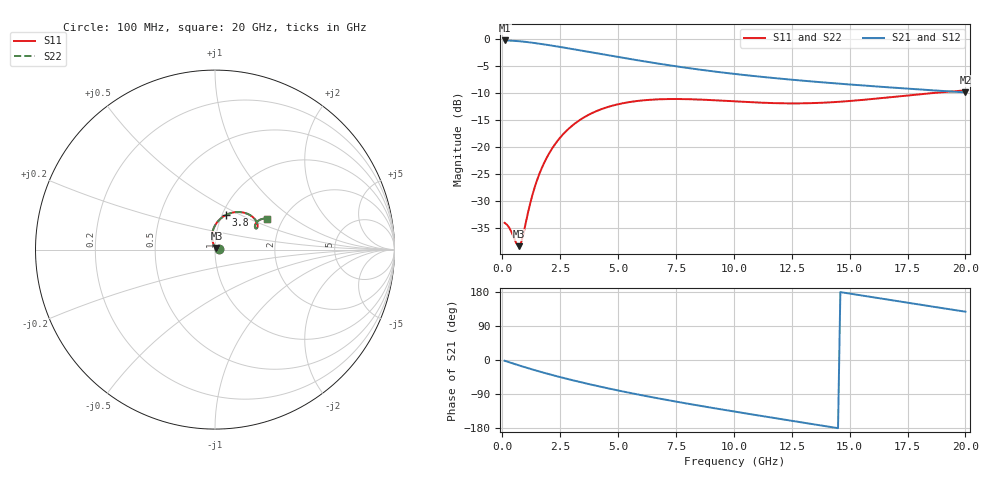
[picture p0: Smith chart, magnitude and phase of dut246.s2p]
! Created with skrf 1.9.0 (http://scikit-rf.org).
# GHz S RI R 50.0
!freq ReS11 ImS11 ReS21 ImS21 ReS12 ImS12 ReS22 ImS22
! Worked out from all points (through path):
!   200 points, 100 MHz to 20 GHz, reference 50 ohm
!   highest |S21| = -0.18 dB at 100 MHz (marker M1); lowest = -9.8 dB at 20 GHz (marker M2)
!   group delay of S21, straight-line fit = 30.4 ps
!   lowest |S11| = -38.4 dB at 700 MHz (marker M3), VSWR 1.02, Z = 50.8 + j0.88 ohm
!   |S11| at or under -10 dB: start of sweep to 18.49 GHz
!   |S22| runs from -38.4 to -9.5 dB; largest |S21 - S12| = 2.7e-15
!   S11 on the Smith chart (normalised r, x): 100 MHz: 1.04, +0.00; 3.8 GHz: 1.05, +0.42; 20 GHz: 1.66, +0.64
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0.1  0.0197 0.000591  0.9791 -0.0342  0.9791 -0.0342  0.0197 0.000591
0.3  0.0176 0.00197  0.9717 -0.1019  0.9717 -0.1019  0.0176 0.00197
0.6  0.0111 0.0063  0.9478 -0.1994  0.9478 -0.1994  0.0111 0.0063
0.7  0.00826 0.00865  0.9368 -0.2303  0.9368 -0.2303  0.00826 0.00865
0.8  0.00523 0.0115  0.9244 -0.2603  0.9244 -0.2603  0.00523 0.0115
0.9  0.0021 0.015  0.9108 -0.2893  0.9108 -0.2893  0.0021 0.015
1.2  -0.00694 0.0288  0.8635 -0.3698  0.8635 -0.3698  -0.00694 0.0288
1.4  -0.0118 0.0406  0.8278 -0.4178  0.8278 -0.4178  -0.0118 0.0406
1.6  -0.0152 0.054  0.7895 -0.4612  0.7895 -0.4612  -0.0152 0.054
1.9  -0.0168 0.0762  0.7287 -0.5181  0.7287 -0.5181  -0.0168 0.0762
2.2  -0.0137 0.0995  0.6655 -0.5654  0.6655 -0.5654  -0.0137 0.0995
2.6  -0.00262 0.1296  0.5796 -0.6152  0.5796 -0.6152  -0.00262 0.1296
3.5  0.0434 0.182  0.3898 -0.6793  0.3898 -0.6793  0.0434 0.182
3.8  0.0623 0.1933  0.3297 -0.6883  0.3297 -0.6883  0.0623 0.1933
5.1  0.1424 0.2087  0.0986 -0.6751  0.0986 -0.6751  0.1424 0.2087
6.8  0.2114 0.1805  -0.1233 -0.5808  -0.1233 -0.5808  0.2114 0.1805
8.4  0.2356 0.1456  -0.2596 -0.4609  -0.2596 -0.4609  0.2356 0.1456
10.1  0.2357 0.1223  -0.3473 -0.3262  -0.3473 -0.3262  0.2357 0.1223
11.7  0.2276 0.1177  -0.3895 -0.2016  -0.3895 -0.2016  0.2276 0.1177
13.4  0.2222 0.1273  -0.3994 -0.076  -0.3994 -0.076  0.2222 0.1273
16.7  0.2411 0.1607  -0.3348 0.1293  -0.3348 0.1293  0.2411 0.1607
20  0.2889 0.1716  -0.196 0.2556  -0.196 0.2556  0.2889 0.1716
